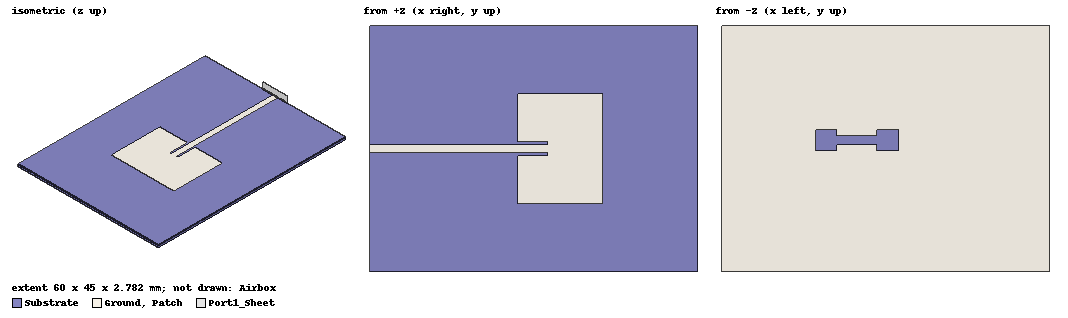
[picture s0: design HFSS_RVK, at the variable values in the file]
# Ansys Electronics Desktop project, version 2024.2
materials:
  vacuum: permittivity=1
  RO4350B: permittivity=3.48 permeability=1 dielectric_loss_tangent=0.0037
  pec: conductivity=1e+30
  air: permittivity=1.0006 permeability=1.0000004

design HFSS_RVK (HFSS, HFSS Terminal Network, model units mm)
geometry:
  Substrate [RO4350B] = box(corner=(-30mm, -22.5mm, 0mm), size=(60mm, 45mm, 0.762mm))
  Ground [pec] = rectangle(corner=(-30mm, -22.5mm, 0mm), x_size=60mm, y_size=45mm)
  Patch [pec] = rectangle(corner=(-2.99995mm, -10.01535mm, 0.762mm), x_size=15.5383mm, y_size=20.0307mm)
  Feed = rectangle(corner=(-30mm, -0.7991mm, 0.762mm), x_size=32.58775mm, y_size=1.5982mm)
  Patch.unite(Feed)
  TopCut_0_inset_gap_top = rectangle(corner=(-2.99995mm, 0.7991mm, 0.762mm), x_size=5.5877mm, y_size=0.4795mm)
  TopCut_1_inset_gap_bottom = rectangle(corner=(-2.99995mm, -1.2786mm, 0.762mm), x_size=5.5877mm, y_size=0.4795mm)
  Patch.subtract(TopCut_0_inset_gap_top, TopCut_1_inset_gap_bottom)
  GroundCut_0_dgs_bridge = rectangle(corner=(-0.38151461mm, 0.82130059mm, 0mm), x_size=11.26051mm, y_size=1.5562139mm)
  GroundCut_1_dgs_left_head = rectangle(corner=(-2.326782mm, -0.34585982mm, 0mm), x_size=3.8905347mm, y_size=3.8905347mm)
  GroundCut_2_dgs_right_head = rectangle(corner=(8.9337279mm, -0.34585982mm, 0mm), x_size=3.8905347mm, y_size=3.8905347mm)
  Ground.subtract(GroundCut_0_dgs_bridge, GroundCut_1_dgs_left_head, GroundCut_2_dgs_right_head)
  Airbox [air] = box(corner=(-30mm, -42.5mm, -20mm), size=(80mm, 85mm, 40.762mm))
  Port1_Sheet = rectangle(corner=(-30mm, -3.9955mm, -0.02mm), y_size=7.991mm, z_size=2.782mm)
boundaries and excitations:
  Copper_PEC: Perfect E Objects=[Ground, Patch]
  Radiation: Radiation Objects=Airbox
  Port1: Wave Port Objects=Port1_Sheet WavePortType=Modal NumModes=1 Modes{Mode1{CharImp=Zpi RenormImp=50ohm}}
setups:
  Setup1: HfssDriven Frequency=5GHz MaxDeltaS=0.02 MaximumPasses=10 MinimumPasses=1 MinimumConvergedPasses=1 PercentRefinement=30 BasisOrder=1 PortAccuracy=2 DrivenSolverType="Direct Solver"
    sweep Sweep_4_6GHz: 4GHz to 6GHz, 101 points; Type=Interpolating SaveRadFields InterpTolerance=0.5 InterpMaxSolns=250 InterpUsePortImped=false PassivityErrorTolerance=0.0001
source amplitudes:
  Port1:1: 1V 0deg
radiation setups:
  InfiniteSphere_EH_Cuts: Infinite Sphere Theta=-180deg..180deg step 1deg Phi=-90deg..90deg step 90deg
